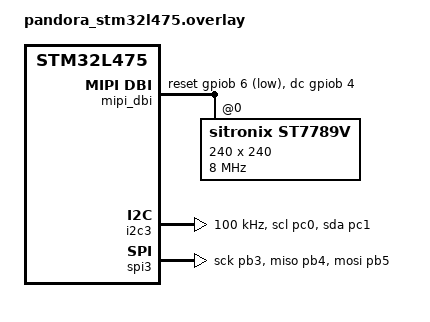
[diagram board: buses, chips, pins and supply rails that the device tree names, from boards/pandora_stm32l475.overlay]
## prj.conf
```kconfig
CONFIG_I2C=y
# CONFIG_INIT_STACKS is not set
CONFIG_HW_STACK_PROTECTION=y
CONFIG_GPIO=y
CONFIG_CONSOLE=y
CONFIG_MCUBOOT_GENERATE_CONFIRMED_IMAGE=y
CONFIG_BOOTLOADER_MCUBOOT=y
CONFIG_MCUBOOT_SIGNATURE_KEY_FILE="bootloader/mcuboot/root-rsa-2048.pem"
CONFIG_MCUBOOT_IMGTOOL_SIGN_VERSION="0.0.1"
CONFIG_ARM_MPU=y
# CONFIG_INIT_ARCH_HW_AT_BOOT is not set
# CONFIG_THREAD_MONITOR is not set
# CONFIG_THREAD_NAME is not set
# CONFIG_DEVICE_DT_METADATA is not set
CONFIG_UART_CONSOLE=y
CONFIG_DISPLAY=y
CONFIG_GPIO_SHELL=y
CONFIG_I2C_SHELL=y
CONFIG_SPI_SHELL=y
CONFIG_SHELL=y
```

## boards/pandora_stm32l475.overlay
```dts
#include <zephyr/dt-bindings/mipi_dbi/mipi_dbi.h>

/ {
	chosen {
		zephyr,display = &st7789v;
		zephyr,code-partition = &slot0_partition;
	};

	mipi_dbi {
		compatible = "zephyr,mipi-dbi-spi";
		status = "okay";

		spi-dev = <&spi3>;
		write-only;

		dc-gpios = <&gpiob 4 GPIO_ACTIVE_HIGH>;		/* DET */
		reset-gpios = <&gpiob 6 GPIO_ACTIVE_LOW>;	/* RESX reset */

		#address-cells = <1>;
		#size-cells = <0>;

		/* Sitronix ST7789V LCD */
		st7789v: st7789v@0 {
			compatible = "sitronix,st7789v";
			status = "okay";
			reg = <0>;

			mipi-mode = <MIPI_DBI_MODE_SPI_4WIRE>;
			mipi-max-frequency = <8000000>; /* 8MHz */

			width = <240>;
			height = <240>;
			x-offset = <0>;
			y-offset = <0>;

			vcom = <0x19>;
			gctrl = <0x35>;
			vrhs = <0x12>;
			vdvs = <0x20>;
			mdac = <0x00>;
			gamma = <0x01>;
			colmod = <0x05>;
			lcm = <0x2c>;
			porch-param = [0c 0c 00 33 33];
			cmd2en-param = [5a 69 02 01];
			pwctrl1-param = [a4 a1];
			pvgam-param = [D0 04 0D 11 13 2B 3F 54 4C 18 0D 0B 1F 23];
			nvgam-param = [D0 04 0C 11 13 2C 3F 44 51 2F 1F 1F 20 23];
			ram-param = [00 F0];
			rgb-param = [CD 08 14];
		};
	};
};

&i2c3 {
	compatible = "st,stm32-i2c-v2";
	pinctrl-0 = <&i2c3_scl_pc0 &i2c3_sda_pc1>;
	pinctrl-names = "default";
	clock-frequency = <I2C_BITRATE_STANDARD>;
	status = "okay";
};

&spi3 {
	status = "okay";

	pinctrl-0 = <&spi3_sck_pb3 &spi3_miso_pb4 &spi3_mosi_pb5>;
	pinctrl-names = "default";

	cs-gpios = <&gpiod 7 GPIO_ACTIVE_LOW>;
};

&flash0 {
	partitions {
		compatible = "fixed-partitions";
		#address-cells = <1>;
		#size-cells = <1>;

		boot_partition: partition@0 {
			label = "mcuboot";
			reg = <0x00000000 DT_SIZE_K(64)>;
		};
		slot0_partition: partition@10000 {
			label = "image-0";
			reg = <0x00010000 DT_SIZE_K(96)>;
		};
		slot1_partition: partition@28000 {
			label = "image-1";
			reg = <0x00028000 DT_SIZE_K(96)>;
		};
	};
};
```

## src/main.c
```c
/*
 * Copyright (c) 2012-2014 Wind River Systems, Inc.
 *
 * SPDX-License-Identifier: Apache-2.0
 */

#include <stdio.h>

int main(void)
{
	printf("Hello World! %s\n", CONFIG_BOARD_TARGET);

	const char *buildString = "This build " CONFIG_MCUBOOT_IMGTOOL_SIGN_VERSION " was compiled at " __DATE__ ", " __TIME__ ".";
	printf("%s\n", buildString);

	return 0;
}
```
